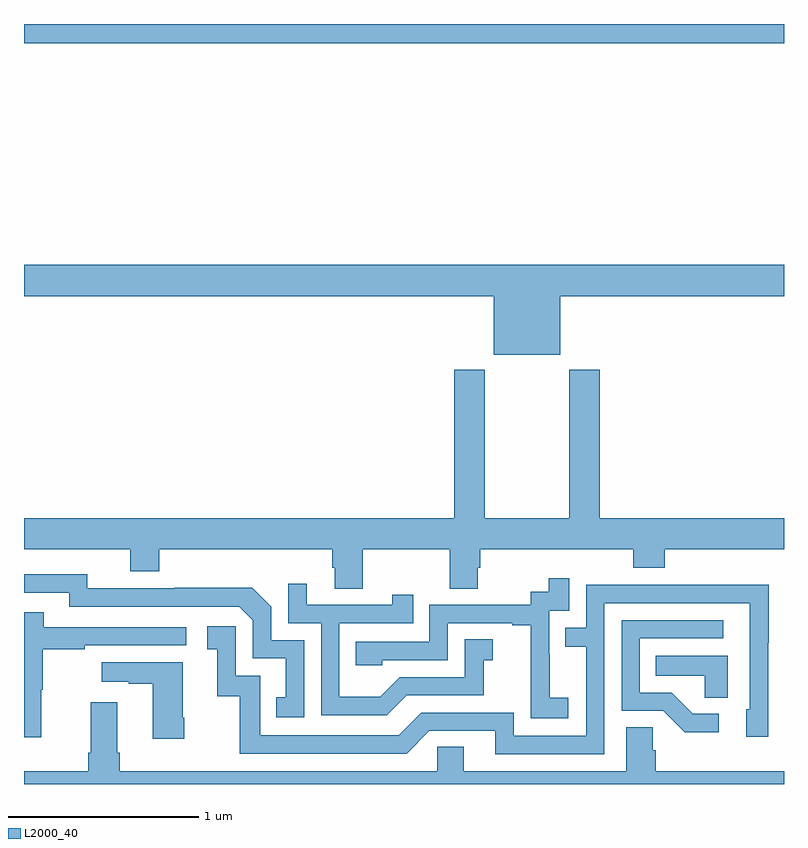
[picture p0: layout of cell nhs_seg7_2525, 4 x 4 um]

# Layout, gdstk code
import gdstk
lib = gdstk.Library(unit=1e-6, precision=1e-09)
def R(c, l, rs):  # rectangles x0, y0, x1, y1
    for r in rs: c.add(gdstk.rectangle(r[:2], r[2:], *l))
def P(c, l, *ps):  # polygons
    for p in ps: c.add(gdstk.Polygon(p, *l))
L2000_40 = (2000, 40)

nhs_seg7_2525 = lib.new_cell('nhs_seg7_2525')
R(nhs_seg7_2525, L2000_40, [(275,1049.9,279,1050)])
P(nhs_seg7_2525, L2000_40, [(277.822,1048.568),(279,1048.568),(279,1048.732),(275,1048.732),(275,1048.568),(277.472,1048.568),(277.472,1048.259),(277.822,1048.259)],
  [(276.783,1047.236),(277.24,1047.236),(277.24,1047.028),(277.387,1047.028),(277.387,1047.138),(277.4,1047.138),(277.4,1047.236),(278.207,1047.236),(278.207,1047.137),(278.372,1047.137),(278.372,1047.236),(279,1047.236),(279,1047.4),(278.03,1047.4),(278.03,1048.18),(277.87,1048.18),(277.87,1047.4),(277.425,1047.4),(277.425,1048.18),(277.265,1048.18),(277.265,1047.4),(275,1047.4),(275,1047.236),(275.558,1047.236),(275.558,1047.119),(275.711,1047.119),(275.711,1047.236),(276.623,1047.236),(276.623,1047.138),(276.635,1047.138),(276.635,1047.028),(276.783,1047.028)],
  [(276.474,1046.757),(276.3,1046.757),(276.3,1046.934),(276.202,1047.032),(275.794,1047.032),(275.794,1047.03),(275.334,1047.03),(275.334,1047.103),(275,1047.103),(275,1047.006),(275.238,1047.006),(275.238,1046.934),(276.132,1046.934),(276.204,1046.862),(276.204,1046.661),(276.377,1046.661),(276.377,1046.457),(276.328,1046.457),(276.328,1046.352),(276.474,1046.352)],
  [(277.864,1046.455),(277.766,1046.455),(277.766,1046.684),(277.764,1046.684),(277.764,1046.913),(277.869,1046.913),(277.869,1047.082),(277.761,1047.082),(277.761,1047.012),(277.668,1047.012),(277.668,1046.943),(277.134,1046.943),(277.134,1046.748),(276.745,1046.748),(276.745,1046.625),(276.885,1046.625),(276.885,1046.652),(277.23,1046.652),(277.23,1046.847),(277.571,1046.847),(277.571,1046.835),(277.667,1046.835),(277.667,1046.551),(277.666,1046.551),(277.666,1046.345),(277.864,1046.345)],
  [(277.015,1046.466),(277.419,1046.466),(277.419,1046.651),(277.468,1046.651),(277.468,1046.761),(277.32,1046.761),(277.32,1046.562),(276.978,1046.562),(276.874,1046.458),(276.66,1046.458),(276.66,1046.847),(277.049,1046.847),(277.049,1046.995),(276.938,1046.995),(276.938,1046.943),(276.487,1046.943),(276.487,1047.055),(276.39,1047.055),(276.39,1046.847),(276.564,1046.847),(276.564,1046.361),(276.91,1046.361)],
  [(278.055,1046.952),(278.82,1046.952),(278.82,1046.394),(278.801,1046.394),(278.801,1046.25),(278.916,1046.25),(278.916,1046.743),(278.919,1046.743),(278.919,1047.05),(278.455,1047.05),(278.455,1047.048),(277.959,1047.048),(277.959,1046.823),(277.849,1046.823),(277.849,1046.722),(277.959,1046.722),(277.959,1046.253),(277.578,1046.253),(277.578,1046.376),(277.092,1046.376),(276.972,1046.256),(276.243,1046.256),(276.243,1046.571),(276.114,1046.571),(276.114,1046.83),(275.964,1046.83),(275.964,1046.709),(276.017,1046.709),(276.017,1046.463),(276.135,1046.463),(276.135,1046.16),(277.014,1046.16),(277.134,1046.28),(277.481,1046.28),(277.481,1046.157),(278.055,1046.157)],
  [(275.09,1046.496),(275.098,1046.496),(275.098,1046.71),(275.321,1046.71),(275.321,1046.73),(275.854,1046.73),(275.854,1046.826),(275.105,1046.826),(275.105,1046.905),(275,1046.905),(275,1046.247),(275.09,1046.247)],
  [(278.656,1046.37),(278.521,1046.37),(278.41,1046.481),(278.241,1046.481),(278.241,1046.766),(278.68,1046.766),(278.68,1046.862),(278.145,1046.862),(278.145,1046.385),(278.364,1046.385),(278.477,1046.273),(278.656,1046.273)],
  [(278.704,1046.674),(278.326,1046.674),(278.326,1046.57),(278.583,1046.57),(278.583,1046.455),(278.704,1046.455)],
  [(275.844,1046.35),(275.836,1046.35),(275.836,1046.641),(275.409,1046.641),(275.409,1046.537),(275.552,1046.537),(275.552,1046.527),(275.678,1046.527),(275.678,1046.238),(275.844,1046.238)],
  [(279,1046.068),(278.324,1046.068),(278.324,1046.177),(278.31,1046.177),(278.31,1046.3),(278.171,1046.3),(278.171,1046.068),(277.315,1046.068),(277.315,1046.195),(277.176,1046.195),(277.176,1046.068),(275.504,1046.068),(275.504,1046.164),(275.491,1046.164),(275.491,1046.43),(275.351,1046.43),(275.351,1046.164),(275.339,1046.164),(275.339,1046.068),(275,1046.068),(275,1046),(279,1046)])

lib.write_gds('nhs_seg7_2525.gds')
